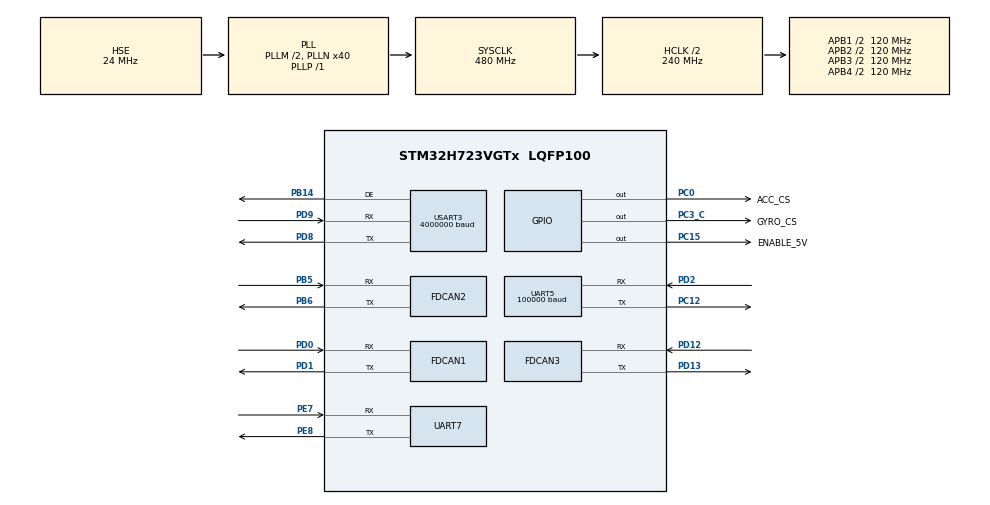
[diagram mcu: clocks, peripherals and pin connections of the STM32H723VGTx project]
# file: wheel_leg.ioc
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CORTEX_M7.default_mode_Activation=0
Dma.Request0=UART5_RX
Dma.Request1=UART7_TX
Dma.Request2=USART3_RX
Dma.UART5_RX.0.Direction=DMA_PERIPH_TO_MEMORY
Dma.UART5_RX.0.EventEnable=DISABLE
Dma.UART5_RX.0.FIFOMode=DMA_FIFOMODE_DISABLE
Dma.UART5_RX.0.Instance=DMA1_Stream0
Dma.UART5_RX.0.MemDataAlignment=DMA_MDATAALIGN_BYTE
Dma.UART5_RX.0.MemInc=DMA_MINC_ENABLE
Dma.UART5_RX.0.Mode=DMA_CIRCULAR
Dma.UART5_RX.0.PeriphDataAlignment=DMA_PDATAALIGN_BYTE
Dma.UART5_RX.0.PeriphInc=DMA_PINC_DISABLE
Dma.UART5_RX.0.Polarity=HAL_DMAMUX_REQ_GEN_RISING
Dma.UART5_RX.0.Priority=DMA_PRIORITY_VERY_HIGH
Dma.UART5_RX.0.RequestNumber=1
Dma.UART5_RX.0.SignalID=NONE
Dma.UART5_RX.0.SyncEnable=DISABLE
Dma.UART5_RX.0.SyncPolarity=HAL_DMAMUX_SYNC_NO_EVENT
Dma.UART5_RX.0.SyncRequestNumber=1
Dma.UART5_RX.0.SyncSignalID=NONE
Dma.UART7_TX.1.Direction=DMA_MEMORY_TO_PERIPH
Dma.UART7_TX.1.EventEnable=DISABLE
Dma.UART7_TX.1.FIFOMode=DMA_FIFOMODE_DISABLE
Dma.UART7_TX.1.Instance=DMA1_Stream2
Dma.UART7_TX.1.MemDataAlignment=DMA_MDATAALIGN_BYTE
Dma.UART7_TX.1.MemInc=DMA_MINC_ENABLE
Dma.UART7_TX.1.Mode=DMA_NORMAL
Dma.UART7_TX.1.PeriphDataAlignment=DMA_PDATAALIGN_BYTE
Dma.UART7_TX.1.PeriphInc=DMA_PINC_DISABLE
Dma.UART7_TX.1.Polarity=HAL_DMAMUX_REQ_GEN_RISING
Dma.UART7_TX.1.Priority=DMA_PRIORITY_LOW
Dma.UART7_TX.1.RequestNumber=1
Dma.UART7_TX.1.SignalID=NONE
Dma.UART7_TX.1.SyncEnable=DISABLE
Dma.UART7_TX.1.SyncPolarity=HAL_DMAMUX_SYNC_NO_EVENT
Dma.UART7_TX.1.SyncRequestNumber=1
Dma.UART7_TX.1.SyncSignalID=NONE
Dma.USART3_RX.2.Direction=DMA_PERIPH_TO_MEMORY
Dma.USART3_RX.2.EventEnable=DISABLE
Dma.USART3_RX.2.FIFOMode=DMA_FIFOMODE_DISABLE
Dma.USART3_RX.2.Instance=DMA1_Stream1
Dma.USART3_RX.2.MemDataAlignment=DMA_MDATAALIGN_BYTE
Dma.USART3_RX.2.MemInc=DMA_MINC_ENABLE
Dma.USART3_RX.2.Mode=DMA_CIRCULAR
Dma.USART3_RX.2.PeriphDataAlignment=DMA_PDATAALIGN_BYTE
Dma.USART3_RX.2.PeriphInc=DMA_PINC_DISABLE
Dma.USART3_RX.2.Polarity=HAL_DMAMUX_REQ_GEN_RISING
Dma.USART3_RX.2.Priority=DMA_PRIORITY_HIGH
Dma.USART3_RX.2.RequestNumber=1
Dma.USART3_RX.2.SignalID=NONE
Dma.USART3_RX.2.SyncEnable=DISABLE
Dma.USART3_RX.2.SyncPolarity=HAL_DMAMUX_SYNC_NO_EVENT
Dma.USART3_RX.2.SyncRequestNumber=1
Dma.USART3_RX.2.SyncSignalID=NONE
FDCAN1.CalculateBaudRateNominal=1000000
FDCAN1.CalculateTimeBitNominal=1000
FDCAN1.CalculateTimeQuantumNominal=40.0
FDCAN1.DataPrescaler=4
FDCAN1.DataSyncJumpWidth=1
FDCAN1.DataTimeSeg1=19
FDCAN1.DataTimeSeg2=5
FDCAN1.ExtFiltersNbr=5
FDCAN1.NominalPrescaler=4
FDCAN1.NominalSyncJumpWidth=1
FDCAN1.NominalTimeSeg1=19
FDCAN1.NominalTimeSeg2=5
FDCAN1.ProtocolException=DISABLE
FDCAN1.RxFifo0ElmtSize=FDCAN_DATA_BYTES_24
FDCAN1.RxFifo0ElmtsNbr=4
FDCAN1.RxFifo1ElmtSize=FDCAN_DATA_BYTES_24
FDCAN1.StdFiltersNbr=5
FDCAN1.TxElmtSize=FDCAN_DATA_BYTES_24
FDCAN1.TxFifoQueueElmtsNbr=8
FDCAN2.CalculateBaudRateNominal=1000000
FDCAN2.CalculateTimeBitNominal=1000
FDCAN2.CalculateTimeQuantumNominal=50.0
FDCAN2.DataPrescaler=5
FDCAN2.DataSyncJumpWidth=1
FDCAN2.DataTimeSeg1=14
FDCAN2.DataTimeSeg2=5
FDCAN2.ExtFiltersNbr=5
FDCAN2.MessageRAMOffset=854
FDCAN2.NominalPrescaler=5
FDCAN2.NominalSyncJumpWidth=1
FDCAN2.NominalTimeSeg1=14
FDCAN2.NominalTimeSeg2=5
FDCAN2.ProtocolException=DISABLE
FDCAN2.RxFifo0ElmtSize=FDCAN_DATA_BYTES_24
FDCAN2.RxFifo0ElmtsNbr=4
FDCAN2.StdFiltersNbr=5
FDCAN2.TxElmtSize=FDCAN_DATA_BYTES_24
FDCAN2.TxFifoQueueElmtsNbr=4
FDCAN3.CalculateBaudRateNominal=1000000
FDCAN3.CalculateTimeBitNominal=1000
FDCAN3.CalculateTimeQuantumNominal=40.0
FDCAN3.DataPrescaler=4
FDCAN3.DataTimeSeg1=19
FDCAN3.DataTimeSeg2=5
FDCAN3.ExtFiltersNbr=5
FDCAN3.NominalPrescaler=4
FDCAN3.NominalTimeSeg1=19
FDCAN3.NominalTimeSeg2=5
FDCAN3.RxFifo0ElmtSize=FDCAN_DATA_BYTES_24
FDCAN3.RxFifo0ElmtsNbr=4
FDCAN3.RxFifo1ElmtSize=FDCAN_DATA_BYTES_24
FDCAN3.StdFiltersNbr=5
FDCAN3.TxElmtSize=FDCAN_DATA_BYTES_24
FDCAN3.TxFifoQueueElmtsNbr=8
FREERTOS.Tasks01=defaultTask,0,128,StartDefaultTask,Default,NULL,Dynamic,NULL,NULL;ChassisTask,2,512,StartChassisTask,Default,NULL,Dynamic,NULL,NULL
FREERTOS.configTOTAL_HEAP_SIZE=65536
Mcu.Family=STM32H7
Mcu.Name=STM32H723VGTx
Mcu.Package=LQFP100
NVIC.DMA1_Stream0_IRQn=true\:5\:0\:false\:false\:true\:true\:false\:true\:true
NVIC.DMA1_Stream1_IRQn=true\:5\:0\:false\:false\:true\:true\:false\:true\:true
NVIC.DMA1_Stream2_IRQn=true\:5\:0\:false\:false\:true\:false\:false\:true\:true
NVIC.FDCAN1_IT0_IRQn=true\:5\:0\:false\:false\:true\:true\:true\:true\:true
NVIC.FDCAN2_IT0_IRQn=true\:5\:0\:false\:false\:true\:true\:true\:true\:true
NVIC.FDCAN3_IT0_IRQn=true\:5\:0\:false\:false\:true\:true\:true\:true\:true
NVIC.PriorityGroup=NVIC_PRIORITYGROUP_4
NVIC.TIM2_IRQn=true\:15\:0\:false\:false\:true\:false\:false\:true\:true
NVIC.TimeBase=TIM2_IRQn
NVIC.TimeBaseIP=TIM2
NVIC.UART5_IRQn=true\:5\:0\:false\:false\:true\:true\:true\:true\:true
NVIC.UART7_IRQn=true\:5\:0\:false\:false\:true\:true\:true\:true\:true
NVIC.USART3_IRQn=true\:5\:0\:false\:false\:true\:true\:true\:true\:true
PA10.Signal=USART1_RX
PA13(JTMS/SWDIO).Mode=Serial_Wire
PA13(JTMS/SWDIO).Signal=DEBUG_JTMS-SWDIO
PA14(JTCK/SWCLK).Mode=Serial_Wire
PA14(JTCK/SWCLK).Signal=DEBUG_JTCK-SWCLK
PA9.Signal=USART1_TX
PB13.Signal=SPI2_SCK
PB14.Mode=Hardware Flow Control (RS485)
PB14.Signal=USART3_DE
PB5.Mode=FDCAN_Activate
PB5.Signal=FDCAN2_RX
PB6.Mode=FDCAN_Activate
PB6.Signal=FDCAN2_TX
PC0.GPIO_Label=ACC_CS
PC0.GPIO_Speed=GPIO_SPEED_FREQ_VERY_HIGH
PC0.PinState=GPIO_PIN_SET
PC0.Signal=GPIO_Output
PC12.Mode=Asynchronous
PC12.Signal=UART5_TX
PC15-OSC32_OUT.GPIO_Label=ENABLE_5V
PC15-OSC32_OUT.PinState=GPIO_PIN_SET
PC15-OSC32_OUT.Signal=GPIO_Output
PC3_C.GPIO_Label=GYRO_CS
PC3_C.GPIO_Speed=GPIO_SPEED_FREQ_VERY_HIGH
PC3_C.PinState=GPIO_PIN_SET
PC3_C.Signal=GPIO_Output
PD0.Mode=FDCAN_Activate
PD0.Signal=FDCAN1_RX
PD1.Mode=FDCAN_Activate
PD1.Signal=FDCAN1_TX
PD12.Mode=FDCAN_Activate
PD12.Signal=FDCAN3_RX
PD13.Mode=FDCAN_Activate
PD13.Signal=FDCAN3_TX
PD2.Mode=Asynchronous
PD2.Signal=UART5_RX
PD4.Signal=USART2_DE
PD5.Signal=USART2_TX
PD6.Signal=USART2_RX
PD8.Mode=Asynchronous
PD8.Signal=USART3_TX
PD9.Mode=Asynchronous
PD9.Signal=USART3_RX
PE7.Mode=Asynchronous
PE7.Signal=UART7_RX
PE8.Mode=Asynchronous
PE8.Signal=UART7_TX
PH0-OSC_IN.Mode=HSE-External-Oscillator
PH0-OSC_IN.Signal=RCC_OSC_IN
PH1-OSC_OUT.Mode=HSE-External-Oscillator
PH1-OSC_OUT.Signal=RCC_OSC_OUT
ProjectManager.HeapSize=0x200
ProjectManager.StackSize=0x400
ProjectManager.TargetToolchain=CMake
RCC.ADCFreq_Value=100000000
RCC.APB1Freq_Value=120000000
RCC.APB2Freq_Value=120000000
RCC.APB3Freq_Value=120000000
RCC.APB4Freq_Value=120000000
RCC.CortexFreq_Value=480000000
RCC.D1PPRE=RCC_APB3_DIV2
RCC.D2PPRE1=RCC_APB1_DIV2
RCC.D2PPRE2=RCC_APB2_DIV2
RCC.D3PPRE=RCC_APB4_DIV2
RCC.DIVM1=2
RCC.DIVM2=24
RCC.DIVN1=40
RCC.DIVN2=200
RCC.DIVP1=1
RCC.DIVQ1=4
RCC.FDCANCLockSelection=RCC_FDCANCLKSOURCE_PLL2
RCC.HCLKFreq_Value=240000000
RCC.HPRE=RCC_HCLK_DIV2
RCC.HSE_VALUE=24000000
RCC.PLLSourceVirtual=RCC_PLLSOURCE_HSE
RCC.SYSCLKFreq_VALUE=480000000
RCC.SYSCLKSource=RCC_SYSCLKSOURCE_PLLCLK
RCC.USBFreq_Value=120000000
STMicroelectronics.X-CUBE-ALGOBUILD.1.4.0.LibraryCcDSPOoLibraryJjDSPOoLibrary=true
UART5.BaudRate=100000
UART5.Parity=PARITY_EVEN
UART5.StopBits=UART_STOPBITS_2
UART5.WordLength=WORDLENGTH_9B
USART3.BaudRate=4000000
USART3.VirtualMode-Asynchronous=VM_ASYNC
USART3.VirtualMode-Hardware\ Flow\ Control\ (RS485)=VM_ASYNC
VP_FREERTOS_VS_CMSIS_V1.Mode=CMSIS_V1
VP_MEMORYMAP_VS_MEMORYMAP.Mode=CurAppReg
VP_STMicroelectronics.X-CUBE-ALGOBUILD_VS_DSPOoLibraryJjLibrary_1.4.0_1.4.0.Mode=DSPOoLibraryJjLibrary
VP_SYS_VS_tim2.Mode=TIM2
board=custom

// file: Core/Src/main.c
/* USER CODE BEGIN Header */
/**
  ******************************************************************************
  * @file           : main.c
  * @brief          : Main program body
  ******************************************************************************
  * @attention
  *
  * Copyright (c) 2025 STMicroelectronics.
  * All rights reserved.
  *
  * This software is licensed under terms that can be found in the LICENSE file
  * in the root directory of this software component.
  * If no LICENSE file comes with this software, it is provided AS-IS.
  *
  ******************************************************************************
  */
/* USER CODE END Header */
#include "main.h"
#include "cmsis_os.h"
#include "dma.h"
#include "fdcan.h"
#include "usart.h"
#include "gpio.h"

/* USER CODE BEGIN Includes */
#include <string.h>
#include "bsp_can.h"
#include "bsp_usart.h"
#include "vofa.h"
#include "bsp_dwt.h"
#include "dm_imu.h"
/* USER CODE END Includes */

void SystemClock_Config(void);
void PeriphCommonClock_Config(void);
void MX_FREERTOS_Init(void);

int main(void)
{

  /* MCU Configuration--------------------------------------------------------*/

  /* Reset of all peripherals, Initializes the Flash interface and the Systick. */
  HAL_Init();

  /* Configure the system clock */
  SystemClock_Config();

  /* Configure the peripherals common clocks */
  PeriphCommonClock_Config();

  /* Initialize all configured peripherals */
  MX_GPIO_Init();
  MX_DMA_Init();
  MX_UART5_Init();
  MX_FDCAN1_Init();
  MX_FDCAN2_Init();
  MX_FDCAN3_Init();
  MX_UART7_Init();
  MX_USART3_UART_Init();
  /* USER CODE BEGIN 2 */
    DWT_Init(480);

    // CAN��������ʼ��
    bsp_can_init();

    // SBUS˫��������ʼ��
    USART_RxDMA_MultiBuffer_Init(&huart5, (uint32_t *) SBUS_MultiRx_Buf[0], (uint32_t *) SBUS_MultiRx_Buf[1],
                                 SBUS_RX_BUF_NUM);

    // ����IMU��ʼ��
    DM_IMU_Init();

  /* USER CODE END 2 */

  /* Call init function for freertos objects (in cmsis_os2.c) */
  MX_FREERTOS_Init();

  /* Start scheduler */
  osKernelStart();

  /* We should never get here as control is now taken by the scheduler */

  /* Infinite loop */
    while (1) {

    }
}

void SystemClock_Config(void)
{
  RCC_OscInitTypeDef RCC_OscInitStruct = {0};
  RCC_ClkInitTypeDef RCC_ClkInitStruct = {0};

  /** Supply configuration update enable
  */
  HAL_PWREx_ConfigSupply(PWR_LDO_SUPPLY);

  /** Configure the main internal regulator output voltage
  */
  __HAL_PWR_VOLTAGESCALING_CONFIG(PWR_REGULATOR_VOLTAGE_SCALE0);

  while(!__HAL_PWR_GET_FLAG(PWR_FLAG_VOSRDY)) {}

  /** Initializes the RCC Oscillators according to the specified parameters
  * in the RCC_OscInitTypeDef structure.
  */
  RCC_OscInitStruct.OscillatorType = RCC_OSCILLATORTYPE_HSE;
  RCC_OscInitStruct.HSEState = RCC_HSE_ON;
  RCC_OscInitStruct.PLL.PLLState = RCC_PLL_ON;
  RCC_OscInitStruct.PLL.PLLSource = RCC_PLLSOURCE_HSE;
  RCC_OscInitStruct.PLL.PLLM = 2;
  RCC_OscInitStruct.PLL.PLLN = 40;
  RCC_OscInitStruct.PLL.PLLP = 1;
  RCC_OscInitStruct.PLL.PLLQ = 4;
  RCC_OscInitStruct.PLL.PLLR = 2;
  RCC_OscInitStruct.PLL.PLLRGE = RCC_PLL1VCIRANGE_3;
  RCC_OscInitStruct.PLL.PLLVCOSEL = RCC_PLL1VCOWIDE;
  RCC_OscInitStruct.PLL.PLLFRACN = 0;
  if (HAL_RCC_OscConfig(&RCC_OscInitStruct) != HAL_OK)
  {
    Error_Handler();
  }

  /** Initializes the CPU, AHB and APB buses clocks
  */
  RCC_ClkInitStruct.ClockType = RCC_CLOCKTYPE_HCLK|RCC_CLOCKTYPE_SYSCLK
                              |RCC_CLOCKTYPE_PCLK1|RCC_CLOCKTYPE_PCLK2
                              |RCC_CLOCKTYPE_D3PCLK1|RCC_CLOCKTYPE_D1PCLK1;
  RCC_ClkInitStruct.SYSCLKSource = RCC_SYSCLKSOURCE_PLLCLK;
  RCC_ClkInitStruct.SYSCLKDivider = RCC_SYSCLK_DIV1;
  RCC_ClkInitStruct.AHBCLKDivider = RCC_HCLK_DIV2;
  RCC_ClkInitStruct.APB3CLKDivider = RCC_APB3_DIV2;
  RCC_ClkInitStruct.APB1CLKDivider = RCC_APB1_DIV2;
  RCC_ClkInitStruct.APB2CLKDivider = RCC_APB2_DIV2;
  RCC_ClkInitStruct.APB4CLKDivider = RCC_APB4_DIV2;

  if (HAL_RCC_ClockConfig(&RCC_ClkInitStruct, FLASH_LATENCY_3) != HAL_OK)
  {
    Error_Handler();
  }
}

void PeriphCommonClock_Config(void)
{
  RCC_PeriphCLKInitTypeDef PeriphClkInitStruct = {0};

  /** Initializes the peripherals clock
  */
  PeriphClkInitStruct.PeriphClockSelection = RCC_PERIPHCLK_FDCAN;
  PeriphClkInitStruct.PLL2.PLL2M = 24;
  PeriphClkInitStruct.PLL2.PLL2N = 200;
  PeriphClkInitStruct.PLL2.PLL2P = 2;
  PeriphClkInitStruct.PLL2.PLL2Q = 2;
  PeriphClkInitStruct.PLL2.PLL2R = 2;
  PeriphClkInitStruct.PLL2.PLL2RGE = RCC_PLL2VCIRANGE_0;
  PeriphClkInitStruct.PLL2.PLL2VCOSEL = RCC_PLL2VCOMEDIUM;
  PeriphClkInitStruct.PLL2.PLL2FRACN = 0;
  PeriphClkInitStruct.FdcanClockSelection = RCC_FDCANCLKSOURCE_PLL2;
  if (HAL_RCCEx_PeriphCLKConfig(&PeriphClkInitStruct) != HAL_OK)
  {
    Error_Handler();
  }
}

void HAL_TIM_PeriodElapsedCallback(TIM_HandleTypeDef *htim)
{
  if (htim->Instance == TIM2)
  {
    HAL_IncTick();
  }
}

void Error_Handler(void)
{
    __disable_irq();
    while (1) {
    }
}

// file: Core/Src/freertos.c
/* USER CODE BEGIN Header */
/**
  ******************************************************************************
  * File Name          : freertos.c
  * Description        : Code for freertos applications
  ******************************************************************************
  * @attention
  *
  * Copyright (c) 2025 STMicroelectronics.
  * All rights reserved.
  *
  * This software is licensed under terms that can be found in the LICENSE file
  * in the root directory of this software component.
  * If no LICENSE file comes with this software, it is provided AS-IS.
  *
  ******************************************************************************
  */
/* USER CODE END Header */

#include "FreeRTOS.h"
#include "task.h"
#include "main.h"
#include "cmsis_os.h"

/* USER CODE BEGIN Includes */
#include "robot_def.h"
#include "chassis_task.h"
#include "vofa.h"
#include "dm_imu.h"
/* USER CODE END Includes */

osThreadId defaultTaskHandle;
osThreadId ChassisTaskHandle;

void StartDefaultTask(void const * argument);
void StartChassisTask(void const * argument);

void MX_FREERTOS_Init(void); /* (MISRA C 2004 rule 8.1) */

/* GetIdleTaskMemory prototype (linked to static allocation support) */
void vApplicationGetIdleTaskMemory( StaticTask_t **ppxIdleTaskTCBBuffer, StackType_t **ppxIdleTaskStackBuffer, uint32_t *pulIdleTaskStackSize );

/* USER CODE BEGIN GET_IDLE_TASK_MEMORY */
static StaticTask_t xIdleTaskTCBBuffer;
static StackType_t xIdleStack[configMINIMAL_STACK_SIZE];

void vApplicationGetIdleTaskMemory(StaticTask_t **ppxIdleTaskTCBBuffer, StackType_t **ppxIdleTaskStackBuffer,
                                   uint32_t *pulIdleTaskStackSize) {
    *ppxIdleTaskTCBBuffer = &xIdleTaskTCBBuffer;
    *ppxIdleTaskStackBuffer = &xIdleStack[0];
    *pulIdleTaskStackSize = configMINIMAL_STACK_SIZE;
    /* place for user code */
}
/* USER CODE END GET_IDLE_TASK_MEMORY */

void MX_FREERTOS_Init(void) {

  /* Create the thread(s) */
  /* definition and creation of defaultTask */
  osThreadDef(defaultTask, StartDefaultTask, osPriorityNormal, 0, 128);
  defaultTaskHandle = osThreadCreate(osThread(defaultTask), NULL);

  /* definition and creation of ChassisTask */
  osThreadDef(ChassisTask, StartChassisTask, osPriorityHigh, 0, 512);
  ChassisTaskHandle = osThreadCreate(osThread(ChassisTask), NULL);

}

void StartDefaultTask(void const * argument)
{
    for (;;) {
        osDelay(1);
    }
}

void StartChassisTask(void const * argument)
{
  /* USER CODE BEGIN StartChassisTask */

  /* =========================== 底盘初始化任务 ============================= */

      chassis_init();

  /* =========================== 底盘任务 ============================= */

      for (;;)
      {
            chassis_task();
            osDelay(CHASSIS_PERIOD);

      }

  /* USER CODE END StartChassisTask */
}
